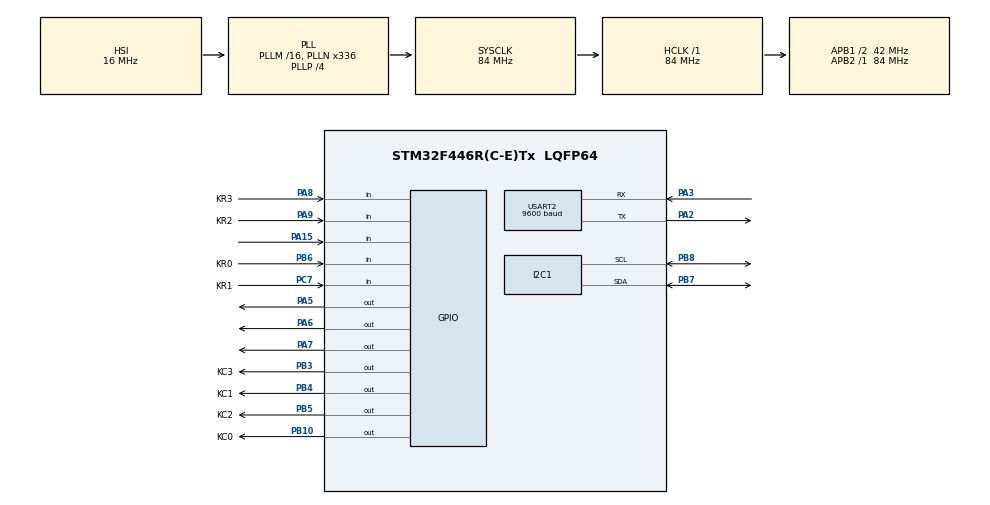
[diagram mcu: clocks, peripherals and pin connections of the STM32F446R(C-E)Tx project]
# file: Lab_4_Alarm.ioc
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FREERTOS.Tasks01=OLEDTask,24,512,StartOLEDTask,Default,NULL,Dynamic,NULL,NULL;KeypadTask,24,512,StartKeypadTask,Default,NULL,Dynamic,NULL,NULL;ConfigureArmTas,24,512,StartConfigureArmTask,Default,NULL,Dynamic,NULL,NULL;MotionTask,24,512,StartMotionTask,Default,NULL,Dynamic,NULL,NULL
I2C1.I2C_Mode=I2C_Fast
Mcu.Family=STM32F4
Mcu.Name=STM32F446R(C-E)Tx
Mcu.Package=LQFP64
NVIC.PriorityGroup=NVIC_PRIORITYGROUP_4
NVIC.TIM6_DAC_IRQn=true\:0\:0\:false\:false\:true\:false\:false\:true\:true
NVIC.TimeBase=TIM6_DAC_IRQn
NVIC.TimeBaseIP=TIM6
PA13.Mode=Serial_Wire
PA13.Signal=SYS_JTMS-SWDIO
PA14.Mode=Serial_Wire
PA14.Signal=SYS_JTCK-SWCLK
PA15.Signal=GPIO_Input
PA2.Mode=Asynchronous
PA2.Signal=USART2_TX
PA3.Mode=Asynchronous
PA3.Signal=USART2_RX
PA5.Signal=GPIO_Output
PA6.Signal=GPIO_Output
PA7.Signal=GPIO_Output
PA8.GPIO_Label=KR3
PA8.GPIO_PuPd=GPIO_PULLDOWN
PA8.Signal=GPIO_Input
PA9.GPIO_Label=KR2
PA9.GPIO_PuPd=GPIO_PULLDOWN
PA9.Signal=GPIO_Input
PB10.GPIO_Label=KC0
PB10.Signal=GPIO_Output
PB3.GPIO_Label=KC3
PB3.Signal=GPIO_Output
PB4.GPIO_Label=KC1
PB4.Signal=GPIO_Output
PB5.GPIO_Label=KC2
PB5.Signal=GPIO_Output
PB6.GPIO_Label=KR0
PB6.GPIO_PuPd=GPIO_PULLDOWN
PB6.Signal=GPIO_Input
PB7.Mode=I2C
PB7.Signal=I2C1_SDA
PB8.Mode=I2C
PB8.Signal=I2C1_SCL
PC14-OSC32_IN.Mode=LSE-External-Oscillator
PC14-OSC32_IN.Signal=RCC_OSC32_IN
PC15-OSC32_OUT.Mode=LSE-External-Oscillator
PC15-OSC32_OUT.Signal=RCC_OSC32_OUT
PC7.GPIO_Label=KR1
PC7.GPIO_PuPd=GPIO_PULLDOWN
PC7.Signal=GPIO_Input
PH0-OSC_IN.Mode=HSE-External-Oscillator
PH0-OSC_IN.Signal=RCC_OSC_IN
PH1-OSC_OUT.Mode=HSE-External-Oscillator
PH1-OSC_OUT.Signal=RCC_OSC_OUT
ProjectManager.HeapSize=0x200
ProjectManager.StackSize=0x400
ProjectManager.TargetToolchain=STM32CubeIDE
RCC.48MHZClocksFreq_Value=84000000
RCC.AHBFreq_Value=84000000
RCC.APB1CLKDivider=RCC_HCLK_DIV2
RCC.APB1Freq_Value=42000000
RCC.APB1TimFreq_Value=84000000
RCC.APB2Freq_Value=84000000
RCC.APB2TimFreq_Value=84000000
RCC.CortexFreq_Value=84000000
RCC.FLatency-AdvancedSettings=FLASH_LATENCY_2
RCC.HCLKFreq_Value=84000000
RCC.HSE_VALUE=8000000
RCC.HSI_VALUE=16000000
RCC.PLLN=336
RCC.PLLP=RCC_PLLP_DIV4
RCC.SYSCLKFreq_VALUE=84000000
RCC.SYSCLKSource=RCC_SYSCLKSOURCE_PLLCLK
RCC.USBFreq_Value=168000000
RCC.VCOOutputFreq_Value=336000000
USART2.BaudRate=9600
USART2.VirtualMode=VM_ASYNC
VP_FREERTOS_VS_CMSIS_V2.Mode=CMSIS_V2
VP_SYS_VS_tim6.Mode=TIM6
board=NUCLEO-F446RE

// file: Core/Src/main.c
/* USER CODE BEGIN Header */
/**
 ******************************************************************************
 * @file           : main.c
 * @brief          : Main program body
 ******************************************************************************
 * @attention
 *
 * Copyright (c) 2024 STMicroelectronics.
 * All rights reserved.
 *
 * This software is licensed under terms that can be found in the LICENSE file
 * in the root directory of this software component.
 * If no LICENSE file comes with this software, it is provided AS-IS.
 *
 ******************************************************************************
 */
/* USER CODE END Header */
#include "main.h"
#include "cmsis_os.h"

/* USER CODE BEGIN Includes */
#include "Keypad4X4.h"
#include <stdio.h>
#include <string.h>
#include <stdlib.h>
#include "fonts.h"
#include "ssd1306.h"

/* USER CODE END Includes */

/* USER CODE BEGIN PD */
#define BUFFER_SIZE 6
#define TIMER_MAX 60
/* USER CODE END PD */

I2C_HandleTypeDef hi2c1;

UART_HandleTypeDef huart2;

/* Definitions for OLEDTask */
osThreadId_t OLEDTaskHandle;
const osThreadAttr_t OLEDTask_attributes = {
  .name = "OLEDTask",
  .stack_size = 512 * 4,
  .priority = (osPriority_t) osPriorityNormal,
};
/* Definitions for KeypadTask */
osThreadId_t KeypadTaskHandle;
const osThreadAttr_t KeypadTask_attributes = {
  .name = "KeypadTask",
  .stack_size = 512 * 4,
  .priority = (osPriority_t) osPriorityNormal,
};
/* Definitions for ConfigureArmTas */
osThreadId_t ConfigureArmTasHandle;
const osThreadAttr_t ConfigureArmTas_attributes = {
  .name = "ConfigureArmTas",
  .stack_size = 512 * 4,
  .priority = (osPriority_t) osPriorityNormal,
};
/* Definitions for MotionTask */
osThreadId_t MotionTaskHandle;
const osThreadAttr_t MotionTask_attributes = {
  .name = "MotionTask",
  .stack_size = 512 * 4,
  .priority = (osPriority_t) osPriorityNormal,
};
/* USER CODE BEGIN PV */
extern char key;
char hold[4];
char buffer[BUFFER_SIZE];
int count = 0;
int countdown = TIMER_MAX;
int isArmed = 0;
int updateOLED = 0;
int enableKeyboard = 1;
int armMotionSensor = 0;
int triggerCountdown = 0;
char commandCode = '\0';
char *ARMED = "ARMED";
char *UNARMED = "NOARMED";

/* USER CODE END PV */

void SystemClock_Config(void);
static void MX_GPIO_Init(void);
static void MX_USART2_UART_Init(void);
static void MX_I2C1_Init(void);
void StartOLEDTask(void *argument);
void StartKeypadTask(void *argument);
void StartConfigureArmTask(void *argument);
void StartMotionTask(void *argument);

/* USER CODE BEGIN 0 */
void ClearBuffer() {
	memset(buffer, '\0', BUFFER_SIZE);
	count = 0;
}
/* USER CODE END 0 */

int main(void)
{

  /* MCU Configuration--------------------------------------------------------*/

  /* Reset of all peripherals, Initializes the Flash interface and the Systick. */
  HAL_Init();

  /* Configure the system clock */
  SystemClock_Config();

  /* Initialize all configured peripherals */
  MX_GPIO_Init();
  MX_USART2_UART_Init();
  MX_I2C1_Init();
  /* USER CODE BEGIN 2 */
	/* USER CODE BEGIN 2 */
	SSD1306_Init();
	SSD1306_GotoXY(0, 0);
	//SSD1306_Puts ("Voltage:", &Font_11x18, 1);
	SSD1306_Puts("Enter Code:", &Font_11x18, 1);
	SSD1306_GotoXY(0, 30);
	SSD1306_UpdateScreen();
	//SSD1306_UpdateScreen();
	//HAL_Delay(500);
	//turn green led on
	HAL_GPIO_WritePin(GPIOA, GPIO_PIN_6, GPIO_PIN_SET);

  /* USER CODE END 2 */

  /* Init scheduler */
  osKernelInitialize();

  /* Create the thread(s) */
  /* creation of OLEDTask */
  OLEDTaskHandle = osThreadNew(StartOLEDTask, NULL, &OLEDTask_attributes);

  /* creation of KeypadTask */
  KeypadTaskHandle = osThreadNew(StartKeypadTask, NULL, &KeypadTask_attributes);

  /* creation of ConfigureArmTas */
  ConfigureArmTasHandle = osThreadNew(StartConfigureArmTask, NULL, &ConfigureArmTas_attributes);

  /* creation of MotionTask */
  MotionTaskHandle = osThreadNew(StartMotionTask, NULL, &MotionTask_attributes);

  /* Start scheduler */
  osKernelStart();

  /* We should never get here as control is now taken by the scheduler */

  /* Infinite loop */
	while (1) {

	}
}

void SystemClock_Config(void)
{
  RCC_OscInitTypeDef RCC_OscInitStruct = {0};
  RCC_ClkInitTypeDef RCC_ClkInitStruct = {0};

  /** Configure the main internal regulator output voltage
  */
  __HAL_RCC_PWR_CLK_ENABLE();
  __HAL_PWR_VOLTAGESCALING_CONFIG(PWR_REGULATOR_VOLTAGE_SCALE3);

  /** Initializes the RCC Oscillators according to the specified parameters
  * in the RCC_OscInitTypeDef structure.
  */
  RCC_OscInitStruct.OscillatorType = RCC_OSCILLATORTYPE_HSI;
  RCC_OscInitStruct.HSIState = RCC_HSI_ON;
  RCC_OscInitStruct.HSICalibrationValue = RCC_HSICALIBRATION_DEFAULT;
  RCC_OscInitStruct.PLL.PLLState = RCC_PLL_ON;
  RCC_OscInitStruct.PLL.PLLSource = RCC_PLLSOURCE_HSI;
  RCC_OscInitStruct.PLL.PLLM = 16;
  RCC_OscInitStruct.PLL.PLLN = 336;
  RCC_OscInitStruct.PLL.PLLP = RCC_PLLP_DIV4;
  RCC_OscInitStruct.PLL.PLLQ = 2;
  RCC_OscInitStruct.PLL.PLLR = 2;
  if (HAL_RCC_OscConfig(&RCC_OscInitStruct) != HAL_OK)
  {
    Error_Handler();
  }

  /** Initializes the CPU, AHB and APB buses clocks
  */
  RCC_ClkInitStruct.ClockType = RCC_CLOCKTYPE_HCLK|RCC_CLOCKTYPE_SYSCLK
                              |RCC_CLOCKTYPE_PCLK1|RCC_CLOCKTYPE_PCLK2;
  RCC_ClkInitStruct.SYSCLKSource = RCC_SYSCLKSOURCE_PLLCLK;
  RCC_ClkInitStruct.AHBCLKDivider = RCC_SYSCLK_DIV1;
  RCC_ClkInitStruct.APB1CLKDivider = RCC_HCLK_DIV2;
  RCC_ClkInitStruct.APB2CLKDivider = RCC_HCLK_DIV1;

  if (HAL_RCC_ClockConfig(&RCC_ClkInitStruct, FLASH_LATENCY_2) != HAL_OK)
  {
    Error_Handler();
  }
}

static void MX_I2C1_Init(void)
{

  hi2c1.Instance = I2C1;
  hi2c1.Init.ClockSpeed = 400000;
  hi2c1.Init.DutyCycle = I2C_DUTYCYCLE_2;
  hi2c1.Init.OwnAddress1 = 0;
  hi2c1.Init.AddressingMode = I2C_ADDRESSINGMODE_7BIT;
  hi2c1.Init.DualAddressMode = I2C_DUALADDRESS_DISABLE;
  hi2c1.Init.OwnAddress2 = 0;
  hi2c1.Init.GeneralCallMode = I2C_GENERALCALL_DISABLE;
  hi2c1.Init.NoStretchMode = I2C_NOSTRETCH_DISABLE;
  if (HAL_I2C_Init(&hi2c1) != HAL_OK)
  {
    Error_Handler();
  }

}

static void MX_USART2_UART_Init(void)
{

  huart2.Instance = USART2;
  huart2.Init.BaudRate = 9600;
  huart2.Init.WordLength = UART_WORDLENGTH_8B;
  huart2.Init.StopBits = UART_STOPBITS_1;
  huart2.Init.Parity = UART_PARITY_NONE;
  huart2.Init.Mode = UART_MODE_TX_RX;
  huart2.Init.HwFlowCtl = UART_HWCONTROL_NONE;
  huart2.Init.OverSampling = UART_OVERSAMPLING_16;
  if (HAL_UART_Init(&huart2) != HAL_OK)
  {
    Error_Handler();
  }

}

static void MX_GPIO_Init(void)
{
  GPIO_InitTypeDef GPIO_InitStruct = {0};

  /* GPIO Ports Clock Enable */
  __HAL_RCC_GPIOC_CLK_ENABLE();
  __HAL_RCC_GPIOH_CLK_ENABLE();
  __HAL_RCC_GPIOA_CLK_ENABLE();
  __HAL_RCC_GPIOB_CLK_ENABLE();

  /*Configure GPIO pin Output Level */
  HAL_GPIO_WritePin(GPIOA, GPIO_PIN_5|GPIO_PIN_6|GPIO_PIN_7, GPIO_PIN_RESET);

  /*Configure GPIO pin Output Level */
  HAL_GPIO_WritePin(GPIOB, KC0_Pin|KC3_Pin|KC1_Pin|KC2_Pin, GPIO_PIN_RESET);

  /*Configure GPIO pins : PA5 PA6 PA7 */
  GPIO_InitStruct.Pin = GPIO_PIN_5|GPIO_PIN_6|GPIO_PIN_7;
  GPIO_InitStruct.Mode = GPIO_MODE_OUTPUT_PP;
  GPIO_InitStruct.Pull = GPIO_NOPULL;
  GPIO_InitStruct.Speed = GPIO_SPEED_FREQ_LOW;
  HAL_GPIO_Init(GPIOA, &GPIO_InitStruct);

  /*Configure GPIO pins : KC0_Pin KC3_Pin KC1_Pin KC2_Pin */
  GPIO_InitStruct.Pin = KC0_Pin|KC3_Pin|KC1_Pin|KC2_Pin;
  GPIO_InitStruct.Mode = GPIO_MODE_OUTPUT_PP;
  GPIO_InitStruct.Pull = GPIO_NOPULL;
  GPIO_InitStruct.Speed = GPIO_SPEED_FREQ_LOW;
  HAL_GPIO_Init(GPIOB, &GPIO_InitStruct);

  /*Configure GPIO pin : KR1_Pin */
  GPIO_InitStruct.Pin = KR1_Pin;
  GPIO_InitStruct.Mode = GPIO_MODE_INPUT;
  GPIO_InitStruct.Pull = GPIO_PULLDOWN;
  HAL_GPIO_Init(KR1_GPIO_Port, &GPIO_InitStruct);

  /*Configure GPIO pins : KR3_Pin KR2_Pin */
  GPIO_InitStruct.Pin = KR3_Pin|KR2_Pin;
  GPIO_InitStruct.Mode = GPIO_MODE_INPUT;
  GPIO_InitStruct.Pull = GPIO_PULLDOWN;
  HAL_GPIO_Init(GPIOA, &GPIO_InitStruct);

  /*Configure GPIO pin : PA15 */
  GPIO_InitStruct.Pin = GPIO_PIN_15;
  GPIO_InitStruct.Mode = GPIO_MODE_INPUT;
  GPIO_InitStruct.Pull = GPIO_NOPULL;
  HAL_GPIO_Init(GPIOA, &GPIO_InitStruct);

  /*Configure GPIO pin : KR0_Pin */
  GPIO_InitStruct.Pin = KR0_Pin;
  GPIO_InitStruct.Mode = GPIO_MODE_INPUT;
  GPIO_InitStruct.Pull = GPIO_PULLDOWN;
  HAL_GPIO_Init(KR0_GPIO_Port, &GPIO_InitStruct);

}

void StartOLEDTask(void *argument)
{
  /* USER CODE BEGIN 5 */
	char *ARMED = "ARMED";
	char *UNARMED = "NOT ARMED";
	/* Infinite loop */
	for (;;) {
		if (updateOLED) {
			SSD1306_Clear();
			SSD1306_UpdateScreen();

			SSD1306_GotoXY(0, 0);

			if (isArmed) {
				SSD1306_Puts(ARMED, &Font_11x18, 1);
			} else {
				SSD1306_Puts(UNARMED, &Font_11x18, 1);
			}

			//SSD1306_Puts("Enter Code:", &Font_11x18, 1);

			if (triggerCountdown) {
				SSD1306_GotoXY(70, 30);
				char countd[2];
				sprintf(countd, "%d", countdown);
				SSD1306_Puts(countd, &Font_11x18, 1);
			} else {

			}

			SSD1306_GotoXY(0, 30);
			for (int i = 0; i < count; i++) {

				SSD1306_Putc('*', &Font_11x18, 1);

			}

			SSD1306_UpdateScreen();
			updateOLED = 0;
		}
		osDelay(100);
	}
  /* USER CODE END 5 */
}

void StartKeypadTask(void *argument)
{
  /* USER CODE BEGIN StartKeypadTask */

	/* Infinite loop */
	for (;;) {

		if (enableKeyboard) {
			key = Get_Key();

			if (key != '\0') {

				if (key == '#' || key == '*') {

					commandCode = key;

				} else if (count < BUFFER_SIZE) {
					buffer[count++] = key;
					//HAL_UART_Transmit(&huart2, (uint8_t*)buffer, strlen(buffer), HAL_MAX_DELAY);
				} else {
					ClearBuffer();
				}

				updateOLED = 1;

				//delay to prevent double input
				//HAL_Delay(100);
			}
		}

		osDelay(300);
	}
  /* USER CODE END StartKeypadTask */
}

void StartConfigureArmTask(void *argument)
{
  /* USER CODE BEGIN StartConfigureArmTask */
	char passcode[6];
	/* Infinite loop */
	for (;;) {

		//reset the input number
		if (commandCode == '*') {
			ClearBuffer();
		} else if (commandCode == '#') {

			//input code must be 4 or 6 digits
			if (count == 4 || count == 6) {

				if (!isArmed) {
					//disable keyboard
					enableKeyboard = 0;

					//set password
					strncpy(passcode, buffer, count);
					passcode[count] = '\0';
					ClearBuffer();

					//start timer
					triggerCountdown = 1;
					for (int i = 0; i < TIMER_MAX; i++) {
						countdown--;
						updateOLED = 1;
						osDelay(1000);
					}

					//arm the system
					isArmed = 1;
					//display the armed status

					//turn red led on
					HAL_GPIO_WritePin(GPIOA, GPIO_PIN_5, GPIO_PIN_SET);

					//turn green led off
					HAL_GPIO_WritePin(GPIOA, GPIO_PIN_6, GPIO_PIN_RESET);

					//turn buzzer on
					HAL_GPIO_WritePin(GPIOA, GPIO_PIN_7, GPIO_PIN_SET);

					//wait
					osDelay(2000);

					//turn buzzer off
					HAL_GPIO_WritePin(GPIOA, GPIO_PIN_7, GPIO_PIN_RESET);

					//arm the motion sensor
					armMotionSensor = 1;

					//reset countdown
					countdown = TIMER_MAX;
					triggerCountdown = 0;

					//enable keyboard
					enableKeyboard = 1;

					updateOLED = 1;

				} else if (isArmed) {
					//char *msg = "Passcode:";
					//HAL_UART_Transmit(&huart2, msg, strlen(msg), HAL_MAX_DELAY);
					//HAL_UART_Transmit(&huart2, passcode, strlen(passcode), HAL_MAX_DELAY);
					if (strcmp(buffer, passcode) == 0) {

						countdown = TIMER_MAX;

						isArmed = 0;

						ClearBuffer();

						//turn green led on
						HAL_GPIO_WritePin(GPIOA, GPIO_PIN_6, GPIO_PIN_SET);
						//turn red led off
						HAL_GPIO_WritePin(GPIOA, GPIO_PIN_5, GPIO_PIN_RESET);

						updateOLED = 1;
					}
				}
			} else {
				//invalid length code inputted
				ClearBuffer();
			}
		}

		//reset command code
		commandCode = '\0';

		osDelay(500);
	}
  /* USER CODE END StartConfigureArmTask */
}

void StartMotionTask(void *argument)
{
  /* USER CODE BEGIN StartMotionTask */
	GPIO_PinState motionState;
	//char motionStateStr[2];
	/* Infinite loop */
	for (;;) {
		//get the state of the motion sensor
		motionState = HAL_GPIO_ReadPin(GPIOA, GPIO_PIN_15);

		//debug statements

		if (armMotionSensor && isArmed) {
			//HAL_UART_Transmit(&huart2, (uint8_t*) motionStateStr,
			//		strlen(motionStateStr), HAL_MAX_DELAY);
			if (motionState == GPIO_PIN_SET) {
				//start timer
				triggerCountdown = 1;
				for (int i = 0; i < TIMER_MAX && isArmed; i++) {

					countdown--;
					updateOLED = 1;
					osDelay(1000);
				}

				//check if state is still armed, trigger buzzer
				if (isArmed) {
					HAL_GPIO_WritePin(GPIOA, GPIO_PIN_7, GPIO_PIN_SET);
				}

				//disable motion sensor
				armMotionSensor = 0;

				countdown = TIMER_MAX;
				triggerCountdown = 0;
			}
		}

		// Send the motion state over UART
		//HAL_UART_Transmit(&huart2, (uint8_t*)motionStateStr, strlen(motionStateStr), HAL_MAX_DELAY);
		osDelay(1);
	}
  /* USER CODE END StartMotionTask */
}

void HAL_TIM_PeriodElapsedCallback(TIM_HandleTypeDef *htim)
{
  if (htim->Instance == TIM6) {
    HAL_IncTick();
  }
}

void Error_Handler(void)
{
	__disable_irq();
	while (1) {
	}
}
